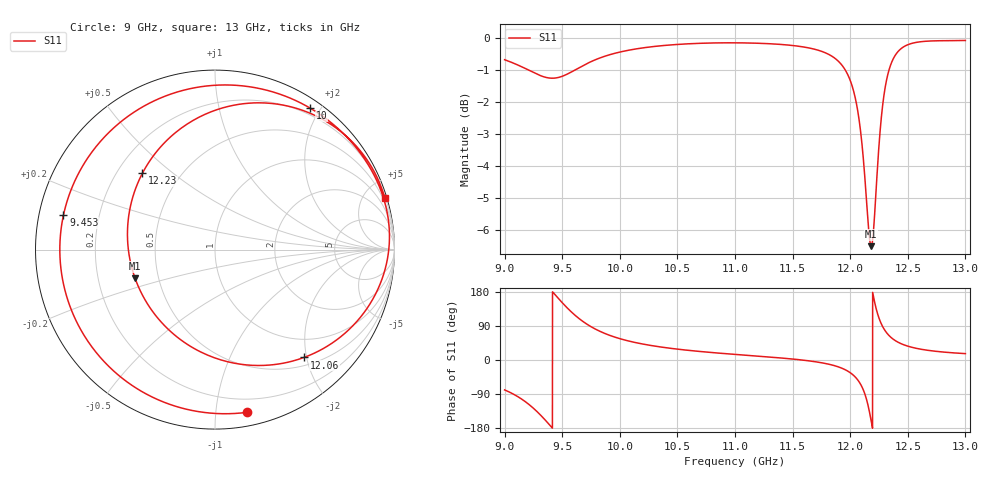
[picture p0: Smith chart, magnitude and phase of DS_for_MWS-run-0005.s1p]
! TOUCHSTONE file generated by CST DESIGN STUDIO
! Date and time: Tue Feb  4 16:29:40 2025
! Project name: C:\Work\MatlabApps\UnitCellOptimizationMatlab\CST\unitcell.cst
! Tree item: Tasks\Sweep1\SPara1\S-Parameters
! Header version: 2024
! Port assignment regex: !\s*Touchstone port\s*([0-9]+)\s*=\s*(CST MWS port|CST DES external port|CST DES block port)\s*(.+)\s* \(\"(.*)\"\)(\s*mode\s*([0-9]+))?.*
! Touchstone port assignment:
! Touchstone port 1 = CST DES external port 1 ("")
# GHz S MA R 50
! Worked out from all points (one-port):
!   4001 points, 9 GHz to 13 GHz, reference 50 ohm
!   lowest |S11| = -6.5 dB at 12.18 GHz (marker M1), VSWR 2.80, Z = 18.4 - j7.55 ohm
!   |S11| at or under -10 dB: nowhere
!   S11 on the Smith chart (normalised r, x): 9 GHz: 0.10, -1.21; 9.453 GHz: 0.07, +0.11; 10 GHz: 0.12, +1.88; 12.06 GHz: 0.64, -1.95; 12.23 GHz: 0.30, +0.40; 13 GHz: 0.23, +6.75
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9  0.924 -78.9
9.135  0.9032 -100.6
9.238  0.8848 -124.1
9.358  0.8672 -160.2
9.453  0.8659 167.1
9.5  0.8706 151.3
9.592  0.8867 123.3
9.69  0.9066 99.5
9.837  0.9312 74.4
10  0.9497 56.3
10.004  0.95 56.0
10.217  0.965 41.1
10.5  0.9761 28.7
11  0.9818 14.8
11.5  0.9724 2.5
11.838  0.9365 -12.9
12  0.858 -33.5
12.06  0.7791 -50.5
12.129  0.5994 -91.2
12.155  0.5163 -119.7
12.182  0.4731 -160.3
12.204  0.5047 164.4
12.227  0.5869 133.6
12.263  0.7269 100.3
12.304  0.8373 77.0
12.385  0.935 52.4
12.5  0.9751 36.5
13  0.9901 16.8
